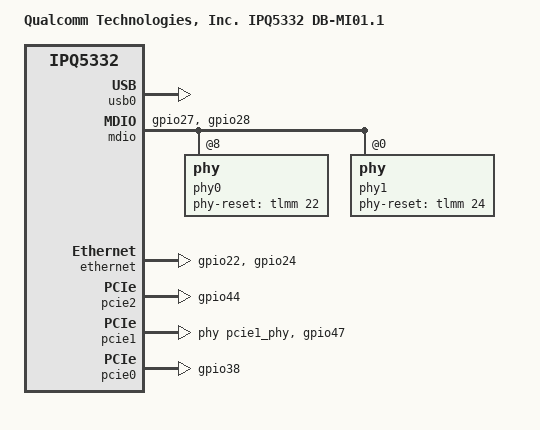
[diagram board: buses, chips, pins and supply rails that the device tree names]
// SPDX-License-Identifier: GPL-2.0-only
/*
 * Copyright (c) Qualcomm Technologies, Inc. and/or its subsidiaries.
 */

/dts-v1/;

#include "ipq5332-rdp-common.dtsi"
#include "ipq5332-rdp-common-ub.dtsi"

/ {
	model = "Qualcomm Technologies, Inc. IPQ5332 DB-MI01.1";
	compatible = "qcom,ipq5332-db-mi01.1", "qcom,ipq5332";

	soc@0 {
		hs_m31phy_0: hs_m31phy@7b000 {
			status = "okay";
		};

		usb0: usb@8af8800 {
			qcom,select-utmi-as-pipe-clk;
			status = "okay";

			dwc3@8a00000 {
				phys = <&hs_m31phy_0>;
				phy-names = "usb2-phy";
				maximum-speed = "high-speed";
			};
		};

		mdio: mdio@90000 {
			pinctrl-names = "default";
			pinctrl-0 = <&mdio_pinmux>;
			status = "okay";

			phy0: phy@8 {
				phy-reset-gpio = <&tlmm 22 0>;
				phy_addr = <8>;
				phy_type = <AQ_PHY_TYPE>;
				phy-mode = "usxgmii";
				id = <1>;
				uniphy_id = <0>;
				uniphy_type = <0>;
				xgmac;
			};

			phy1: phy@0 {
				phy-reset-gpio = <&tlmm 24 0>;
				phy_addr = <0>;
				phy_type = <AQ_PHY_TYPE>;
				phy-mode = "usxgmii";
				id = <2>;
				uniphy_id = <1>;
				uniphy_type = <0>;
				xgmac;
			};
		};

		ethernet: nss-switch {
			pinctrl-names = "default";
			pinctrl-0 = <&phy_rst_pinmux>;
			phy-handle0 = <&phy0>;
			phy-handle1 = <&phy1>;
			status = "okay";
		};
	};
};

&tlmm {
	mdio_pinmux: mdio {
		mdc {
			pins = "gpio27";
			function = "mdc1";
			drive-strength = <8>;
			bias-disable;
		};

		mdio {
			pins = "gpio28";
			function = "mdio1";
			drive-strength = <8>;
			bias-pull-up;
		};
	};

	phy_rst_pinmux: phy_rst {
		qti_aquantia_p1_rst {
			pins = "gpio22";
			drive-strength = <8>;
			bias-pull-up;
		};

		qti_aquantia_p2_rst {
			pins = "gpio24";
			drive-strength = <8>;
			bias-pull-up;
		};
	};

	pcie2_default_state: pcie2-default-state {
		pins = "gpio44";
		function = "gpio";
		drive-strength = <8>;
		bias-pull-up;
		output-low;
	};

	pcie1_default_state: pcie1-default-state {
		pins = "gpio47";
		function = "gpio";
		drive-strength = <8>;
		bias-pull-up;
		output-low;
	};

	pcie0_default_state: pcie0-default-state {
		pins = "gpio38";
		function = "gpio";
		drive-strength = <8>;
		bias-pull-up;
		output-low;
	};
};

&pcie2 {
	pinctrl-0 = <&pcie2_default_state>;
	pinctrl-names = "default";
	perst-gpios = <&tlmm 44 GPIO_ACTIVE_LOW>;
	status = "okay";
};

&pcie1 {
	pinctrl-0 = <&pcie1_default_state>;
	pinctrl-names = "default";
	perst-gpios = <&tlmm 47 GPIO_ACTIVE_LOW>;
	phys = <&pcie1_phy>;
	phy-names = "pciephy";
	status = "okay";
};

&pcie0 {
	pinctrl-0 = <&pcie0_default_state>;
	pinctrl-names = "default";
	perst-gpios = <&tlmm 38 GPIO_ACTIVE_LOW>;
	status = "okay";
};
